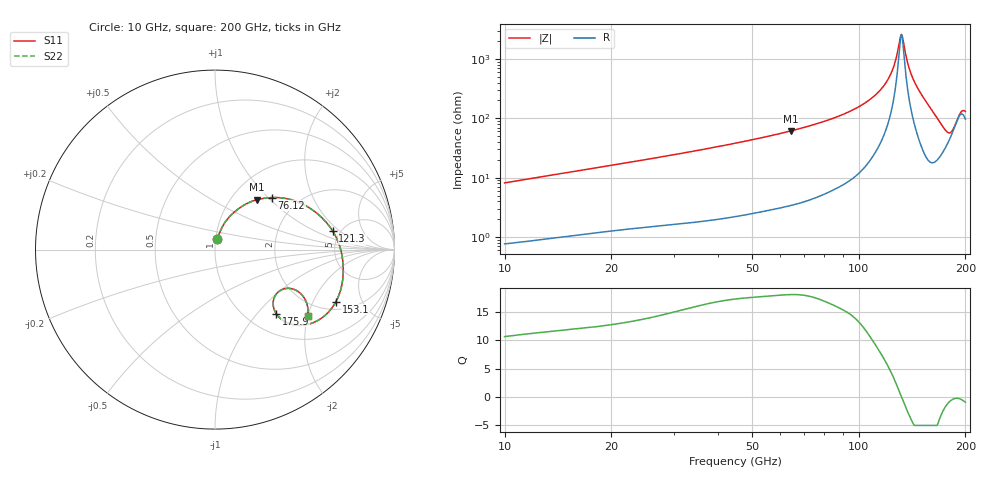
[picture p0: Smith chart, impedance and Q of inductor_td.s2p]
! TOUCHSTONE file generated by CST MICROWAVE STUDIO
! Date and time: Mon Sep 14 08:20:11 2026
! Project name: inductor_td.cst
! Header version: 2024
! Port assignment regex: !\s*Touchstone port\s*([0-9]+)\s*=\s*(CST MWS port|CST DES external port|CST DES block port)\s*(.+)\s* \(\"(.*)\"\)(\s*mode\s*([0-9]+))?.*
! Touchstone port assignment:
! Touchstone port 1 = CST MWS port 1 ("P1")
! Touchstone port 2 = CST MWS port 2 ("P2")
# GHz S MA R 50
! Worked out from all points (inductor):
!   1001 points, 10 GHz to 200 GHz, reference 50 ohm
!   read as 1/Y11, port 2 shorted: L = 126 pH near 10.95 GHz
!   highest Q = 18 at 64.34 GHz (marker M1), where L = 152 pH
!   self-resonance near 132 GHz
!   S11 on the Smith chart (normalised r, x): 10 GHz: 1.02, +0.12; 76.12 GHz: 1.48, +1.05; 121.3 GHz: 4.36, +1.59; 153.1 GHz: 2.43, -3.05; 175.9 GHz: 1.35, -1.27; 200 GHz: 1.61, -2.00
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10  0.06178 77.5  0.9903 -5.7  0.9903 -5.7  0.06178 77.5
16.08  0.09536 74.8  0.9847 -9.1  0.9847 -9.1  0.09536 74.8
23.11  0.1337 72.1  0.9764 -13.0  0.9764 -13.0  0.1337 72.1
31.66  0.1818 68.0  0.9668 -17.6  0.9668 -17.6  0.1818 68.0
41.73  0.2372 62.6  0.9534 -23.3  0.9534 -23.3  0.2372 62.6
64.34  0.3638 49.9  0.9076 -36.8  0.9076 -36.8  0.3638 49.9
73.46  0.4145 44.2  0.8839 -42.6  0.8839 -42.6  0.4145 44.2
76.12  0.4293 42.5  0.8761 -44.4  0.8761 -44.4  0.4293 42.5
90.94  0.5126 32.6  0.8275 -54.5  0.8275 -54.5  0.5126 32.6
105  0.5865 22.1  0.7746 -65.2  0.7746 -65.2  0.5866 22.1
121.34  0.6647 8.8  0.7057 -78.8  0.7057 -78.8  0.6647 8.8
136.73  0.7158 -5.5  0.6466 -93.8  0.6466 -93.8  0.7159 -5.5
145.85  0.7328 -14.8  0.6179 -104.0  0.6179 -104.0  0.7329 -14.8
153.07  0.7337 -23.3  0.6097 -113.2  0.6097 -113.2  0.7338 -23.3
161.81  0.6933 -35.0  0.621 -128.1  0.621 -128.1  0.6936 -35.0
168.46  0.615 -43.1  0.6313 -143.6  0.6313 -143.6  0.6153 -43.1
175.87  0.4932 -46.3  0.6211 -164.8  0.6211 -164.8  0.4936 -46.3
179.29  0.4457 -43.4  0.6031 -175.6  0.6031 -175.6  0.446 -43.4
182.71  0.4223 -37.5  0.575 173.4  0.575 173.4  0.4227 -37.5
188.79  0.4634 -27.7  0.5008 154.6  0.5008 154.6  0.4636 -27.8
193.73  0.5453 -27.5  0.4241 142.2  0.4241 142.2  0.5454 -27.5
200  0.6352 -35.6  0.3346 135.7  0.3346 135.7  0.6353 -35.6
